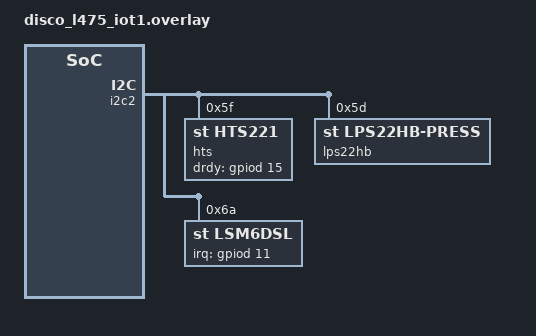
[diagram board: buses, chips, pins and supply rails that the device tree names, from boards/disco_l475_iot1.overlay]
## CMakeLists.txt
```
cmake_minimum_required(VERSION 3.20.0)
find_package(Zephyr REQUIRED HINTS $ENV{ZEPHYR_BASE})
project(Sensor_Logging_System)

FILE(GLOB app_sources src/*.c)
target_sources(app PRIVATE ${app_sources})
```

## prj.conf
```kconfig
CONFIG_I2C=y
CONFIG_SENSOR=y
CONFIG_CBPRINTF_FP_SUPPORT=y
CONFIG_LOG=y
```

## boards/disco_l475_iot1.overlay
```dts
/delete-node/ &boot_partition;
/delete-node/ &slot0_partition;
/delete-node/ &storage_partition;

/ {
    aliases {
        ht-sensor = &hts;
        pressure-sensor = &lps22hb;
        imu-sensor = &lsm6dsl;
    };
};

&i2c2 {

    hts: hts221@5f {
        compatible = "st,hts221";
        reg = <0x5f>;
        drdy-gpios = <&gpiod 15 GPIO_ACTIVE_HIGH>;
    };

    lps22hb: lps22hb-press@5d {
        compatible = "st,lps22hb-press";
        reg = <0x5d>;
    };

    lsm6dsl: lsm6dsl@6a {
        compatible = "st,lsm6dsl";
        reg = <0x6a>;
        irq-gpios = <&gpiod 11 GPIO_ACTIVE_HIGH>;
    };
};

&flash0 {
    partitions {
        compatible = "fixed-partitions";
        #address-cells = <1>;
        #size-cells = <1>;

        boot_partition: partition@0 {
            label = "mcuboot";
            reg = <0x0 DT_SIZE_K(64)>;
            read-only;
        };

        slot0_partition: partition@10000 {
            label = "image-0";
            reg = <0x10000 DT_SIZE_K(384)>;
        };

        storage_partition: partition@70000 {
            label = "storage";
            reg = <0x20000 DT_SIZE_K(640)>;
        };
    };
};
```

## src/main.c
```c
/*
 * @file main.c
 * @author Dhruv Mamtora
 * @version 0.1.0
 * @date  27 August, 2025
 *
 * @brief Main application file for Sensor Data Logging System.
 *
 * @details
 * This file contains the main function.
 *
 * @copyright Copyright (c) 2025
 */

/** REQUIRED HEADER FILES */
#include <zephyr/logging/log.h>
#include <zephyr/kernel.h>

/* Register the logging module for main application */
LOG_MODULE_REGISTER(main);

/*
 * @brief main - Main function.
 *
 * @author Dhruv Mamtora
 * @date 26 August, 2025
 *
 * @details
 * This function logs a startup message and returns.
 *
 * @return 0 on success.
 */
int main(void)
{
	LOG_INF("Sensor Data Logging System started.");
	return 0;
}
```

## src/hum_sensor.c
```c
/*
 * @file hum_sensor.c
 * @author Dhruv Mamtora
 * @version 0.1.0
 * @date  26 August, 2025
 *
 * @brief Humidity sensor processing for the Sensor Data Logging System.
 *
 * @details
 * This file contains the implementation of the humidity sensor thread, which reads data from
 * the HTS221 sensor and sends the humidity data to the logger thread via a message queue
 * for logging.
 *
 * @copyright Copyright (c) 2025
 */

/** REQUIRED HEADER FILES */
#include <zephyr/device.h>
#include <zephyr/drivers/sensor.h>
#include <zephyr/kernel.h>
#include <zephyr/logging/log.h>

#include "sensor_structures.h"

/** MACRO DEFINITIONS */
#define HUM_SENSOR_THREAD_STACK_SIZE 512
#define HUM_SENSOR_THREAD_PRIORITY   5
#define HUM_SENSOR_THREAD_SLEEP_TIME K_SECONDS(30)

#define HUM_Q_MAX_MSGS 10
#define HUM_Q_ALIGN    32

#define HUM_Q_TIMEOUT K_MSEC(1000)

/** DEVICE CONFIGURATION */
/* Check if the HTS221 sensor is defined in the device tree. */
#if DT_NODE_EXISTS(DT_ALIAS(ht_sensor))
#define HUM_TEMP_NODE DT_ALIAS(ht_sensor)
const struct device *const humDev = DEVICE_DT_GET(DT_ALIAS(ht_sensor));
#else
#error ("Humidity sensor not found.");
#endif

/* Function prototypes */
void humSensorThread(void *a, void *b, void *c);
int humSensorProcess(humidityData_t *humidityDataStruct);

/** LOGGING CONFIGURATION */
/* Register the logging module for humidity sensor operations. */
LOG_MODULE_REGISTER(hum);

/* Message queue to send humidity data to the logger thread */
K_MSGQ_DEFINE(humMsgQ, sizeof(humidityData_t), HUM_Q_MAX_MSGS, HUM_Q_ALIGN);

/*
 * @brief humSensorProcess - Process humidity sensor data.
 *
 * @author Dhruv Mamtora
 * @date 26 August, 2025
 *
 * @details
 * This function reads the humidity data from the HTS221 sensor and updates the provided
 *
 * @pre The sensor device must be initialized and ready.
 *
 * @syntax
 * int humSensorProcess(humidityData_t *humidityDataStruct);
 *
 * @param[in] humidityDataStruct Pointer to a humidityData_t structure to store the latest humidity
 * value.
 * @param[out] humidityDataStruct->dHumidity Updated with the latest humidity value in percentage.
 *
 * @return 0 on success, -1 on failure.
 *
 * @retval 0 Success
 * @retval -1 Error
 */
int humSensorProcess(humidityData_t *humidityDataStruct)
{
	if (!device_is_ready(humDev)) {
		LOG_ERR("sensor: %s device not ready.", humDev->name);
		return -1;
	}

	if (sensor_sample_fetch(humDev) < 0) {
		LOG_ERR("Sensor sample update error");
		return -1;
	}

	struct sensor_value humValue;
	if (sensor_channel_get(humDev, SENSOR_CHAN_HUMIDITY, &humValue) < 0) {
		LOG_ERR("Cannot read HTS221 humidity channel");
		return -1;
	}

	/* Update latest humidity value */
	humidityDataStruct->dHumidity = sensor_value_to_double(&humValue);
	return 0;
}

/*
 * @brief humSensorThread - Humidity sensor thread.
 *
 * @author Dhruv Mamtora
 * @date 26 August, 2025
 *
 * @details
 * This thread continuously reads humidity data from the HTS221 sensor and sends it to the logger
 * thread via a message queue for logging.
 *
 * @pre The sensor device must be initialized and ready.
 *
 * @syntax
 * void humSensorThread(void *a, void *b, void *c);
 *
 * @param[in] a Unused parameter.
 * @param[in] b Unused parameter.
 * @param[in] c Unused parameter.
 *
 * @return None.
 */
void humSensorThread(void *a, void *b, void *c)
{
	humidityData_t humidityDataStruct;

	LOG_INF("Humidity sensor thread started.");

	while (1) {
		if (humSensorProcess(&humidityDataStruct) == 0) {
			/* Send the humidity data to the logger thread */
			if (k_msgq_put(&humMsgQ, &humidityDataStruct, HUM_Q_TIMEOUT) != 0) {
				LOG_WRN("Humidity message queue full, dropping data");
			}
		}
		k_sleep(HUM_SENSOR_THREAD_SLEEP_TIME);
	}

	/* This line will never be reached */
	LOG_INF("Humidity sensor thread stopped.");
}

/* Define the humidity sensor thread */
K_THREAD_DEFINE(humThreadId, HUM_SENSOR_THREAD_STACK_SIZE, humSensorThread, NULL, NULL, NULL,
		HUM_SENSOR_THREAD_PRIORITY, 0, 2000);
```

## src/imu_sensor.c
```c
/*
 * @file imu_sensor.c
 * @author Dhruv Mamtora
 * @version 0.1.0
 * @date  27 August, 2025
 *
 * @brief This file contains functions to interface with the LSM6DSL IMU sensor.
 *
 * @details
 * This file implements functions to initialize the LSM6DSL IMU sensor, read accelerometer
 * and gyroscope data, and send the data to a logger thread via a message queue.
 *
 * @copyright Copyright (c) 2025
 */

/** REQUIRED HEADER FILES */
#include <zephyr/device.h>
#include <zephyr/drivers/sensor.h>
#include <zephyr/kernel.h>
#include <zephyr/logging/log.h>

#include "sensor_structures.h"

/** MACRO DEFINITIONS */
#define IMU_SENSOR_THREAD_STACK_SIZE 1024
#define IMU_SENSOR_THREAD_PRIORITY   5
#define IMU_SENSOR_THREAD_SLEEP_TIME K_SECONDS(5)

#define IMU_Q_MAX_MSGS 10
#define IMU_Q_ALIGN    32

#define IMU_Q_TIMEOUT K_MSEC(1000)

/** DEVICE CONFIGURATION */
/* Check if the LSM6DSL sensor is defined in the device tree. */
#if DT_NODE_EXISTS(DT_ALIAS(imu_sensor))
#define IMU_NODE DT_ALIAS(imu_sensor)
const struct device *const imuDev = DEVICE_DT_GET(DT_ALIAS(imu_sensor));
#else
#error ("IMU sensor not found.");
#endif

/* Function prototypes */
void imuSensorThread(void *a, void *b, void *c);
int imuSensorProcess(motionData_t *motionDataStruct);

/** LOGGING CONFIGURATION */
/* Register the logging module for IMU sensor operations. */
LOG_MODULE_REGISTER(imu);

/* Message queue to send IMU data to the logger thread */
K_MSGQ_DEFINE(imuMsgQ, sizeof(motionData_t), IMU_Q_MAX_MSGS, IMU_Q_ALIGN);

/*
 * @brief imuSensorProcess - Process IMU sensor data.
 *
 * @author Dhruv Mamtora
 * @date 27 August, 2025
 *
 * @details
 * This function reads data from the LSM6DSL IMU sensor and updates the provided motionDataStruct
 * with the latest accelerometer and gyroscope values.
 *
 * @pre The IMU sensor device must be initialized and ready.
 *
 * @syntax
 * int imuSensorProcess(motionData_t *motionDataStruct);
 *
 * @param[in] motionDataStruct Pointer to the structure to store the latest motion data.
 * @param[out] motionDataStruct->accel Updated with the latest accelerometer data.
 * @param[out] motionDataStruct->gyro Updated with the latest gyroscope data.
 *
 * @return 0 on success, -1 on failure.
 *
 * @retval 0 Success
 * @retval -1 Error
 */
int imuSensorProcess(motionData_t *motionDataStruct)
{

	if (!device_is_ready(imuDev)) {
		LOG_ERR("sensor: %s device not ready.", imuDev->name);
		return -1;
	}

	struct sensor_value odr_attr;

	/* set accel/gyro sampling frequency to 104 Hz */
	odr_attr.val1 = 104;
	odr_attr.val2 = 0;

	if (sensor_attr_set(imuDev, SENSOR_CHAN_ACCEL_XYZ, SENSOR_ATTR_SAMPLING_FREQUENCY,
			    &odr_attr) < 0) {
		LOG_ERR("Cannot set sampling frequency for accelerometer.");
		return -1;
	}

	if (sensor_attr_set(imuDev, SENSOR_CHAN_GYRO_XYZ, SENSOR_ATTR_SAMPLING_FREQUENCY,
			    &odr_attr) < 0) {
		LOG_ERR("Cannot set sampling frequency for gyro.");
		return -1;
	}

	if (sensor_sample_fetch(imuDev) < 0) {
		LOG_ERR("Sensor sample update error");
		return -1;
	}

	struct sensor_value accel_x, accel_y, accel_z;
	struct sensor_value gyro_x, gyro_y, gyro_z;

	/* Fetch accelerometer data */
	sensor_sample_fetch_chan(imuDev, SENSOR_CHAN_ACCEL_XYZ);
	sensor_channel_get(imuDev, SENSOR_CHAN_ACCEL_X, &accel_x);
	sensor_channel_get(imuDev, SENSOR_CHAN_ACCEL_Y, &accel_y);
	sensor_channel_get(imuDev, SENSOR_CHAN_ACCEL_Z, &accel_z);

	motionDataStruct->accel.x = sensor_value_to_double(&accel_x);
	motionDataStruct->accel.y = sensor_value_to_double(&accel_y);
	motionDataStruct->accel.z = sensor_value_to_double(&accel_z);

	/* Fetch gyroscope data */
	sensor_sample_fetch_chan(imuDev, SENSOR_CHAN_GYRO_XYZ);
	sensor_channel_get(imuDev, SENSOR_CHAN_GYRO_X, &gyro_x);
	sensor_channel_get(imuDev, SENSOR_CHAN_GYRO_Y, &gyro_y);
	sensor_channel_get(imuDev, SENSOR_CHAN_GYRO_Z, &gyro_z);

	motionDataStruct->gyro.x = sensor_value_to_double(&gyro_x);
	motionDataStruct->gyro.y = sensor_value_to_double(&gyro_y);
	motionDataStruct->gyro.z = sensor_value_to_double(&gyro_z);

	return 0;
}

/*
 * @brief imuSensorThread - Thread to periodically read IMU sensor data.
 *
 * @author Dhruv Mamtora
 * @date 27 August, 2025
 *
 * @details
 * This thread function continuously reads data from the LSM6DSL IMU sensor at defined intervals
 * and sends the data to the logger thread via a message queue.
 *
 * @syntax
 * void imuSensorThread(void *a, void *b, void *c);
 *
 * @param[in] a Unused parameter.
 * @param[in] b Unused parameter.
 * @param[in] c Unused parameter.
 */
void imuSensorThread(void *a, void *b, void *c)
{
	motionData_t motionDataStruct;

	LOG_INF("IMU sensor thread started.");

	while (1) {
		if (imuSensorProcess(&motionDataStruct) == 0) {
			/* Send the motion data to the logger thread via message queue */
			if (k_msgq_put(&imuMsgQ, &motionDataStruct, IMU_Q_TIMEOUT) != 0) {
				LOG_WRN("IMU message queue full, dropping data");
			}
		}
		k_sleep(IMU_SENSOR_THREAD_SLEEP_TIME);
	}

	/* This line will never be reached */
	LOG_INF("IMU sensor thread stopped.");
}

/* Define the IMU sensor thread */
K_THREAD_DEFINE(imuSensorThreadId, IMU_SENSOR_THREAD_STACK_SIZE, imuSensorThread, NULL, NULL, NULL,
		IMU_SENSOR_THREAD_PRIORITY, 0, 0);
```

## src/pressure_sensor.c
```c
/*
 * @file pressure_sensor.c
 * @author Dhruv Mamtora
 * @version 0.1.0
 * @date  27 August, 2025
 *
 * @brief Pressure sensor operations for the Sensor Data Logging System.
 *
 * @details
 * This file contains the implementation of the pressure sensor thread, which reads data from
 * the LPS22HH sensor and sends the pressure data to the logger thread via a message queue
 * for logging.
 * 
 * @copyright Copyright (c) 2025
 */

/** REQUIRED HEADER FILES */
#include <zephyr/device.h>
#include <zephyr/drivers/sensor.h>
#include <zephyr/kernel.h>
#include <zephyr/logging/log.h>

#include "sensor_structures.h"

/** MACRO DEFINITIONS */
#define PRESSURE_SENSOR_THREAD_STACK_SIZE 512
#define PRESSURE_SENSOR_THREAD_PRIORITY   5
#define PRESSURE_SENSOR_THREAD_SLEEP_TIME K_SECONDS(30)

#define PRESSURE_Q_MAX_MSGS 10
#define PRESSURE_Q_ALIGN    32

#define PRESSURE_Q_TIMEOUT K_MSEC(1000)

/** DEVICE CONFIGURATION */
/* Check if the LPS22HH sensor is defined in the device tree. */
#if DT_NODE_EXISTS(DT_ALIAS(pressure_sensor))
#define PRESSURE_NODE DT_ALIAS(pressure_sensor)
const struct device *const pressureDev = DEVICE_DT_GET(DT_ALIAS(pressure_sensor));
#else
#error ("Pressure sensor not found.");
#endif

/* Function prototypes */
void pressureSensorThread(void *a, void *b, void *c);
int pressureSensorProcess(pressureData_t *pressureDataStruct);

/** LOGGING CONFIGURATION */
/* Register the logging module for pressure sensor operations. */
LOG_MODULE_REGISTER(pressure);

/* Message queue to send pressure data to the logger thread */
K_MSGQ_DEFINE(pressureMsgQ, sizeof(pressureData_t), PRESSURE_Q_MAX_MSGS, PRESSURE_Q_ALIGN);

/*
 * @brief pressureSensorProcess - Process pressure sensor data.
 *
 * @author Dhruv Mamtora
 * @date 27 August, 2025
 *
 * @details
 * This function reads data from the LPS22HH pressure sensor and updates the provided
 * pressureDataStruct with the latest pressure value.
 *
 * @pre The sensor device must be initialized and ready.
 *
 * @syntax
 * int pressureSensorProcess(pressureData_t *pressureDataStruct);
 *
 * @param[in] pressureDataStruct Pointer to the structure to store the latest pressure value.
 * @param[out] pressureDataStruct->dPressure Updated with the latest pressure value in hPa.
 *
 * @return 0 on success, -1 on failure.
 * 
 * @retval 0 Success
 * @retval -1 Error
 */
int pressureSensorProcess(pressureData_t *pressureDataStruct)
{
	if (!device_is_ready(pressureDev)) {
		LOG_ERR("sensor: %s device not ready.", pressureDev->name);
		return -1;
	}

	if (sensor_sample_fetch(pressureDev) < 0) {
		LOG_ERR("Sensor sample update error");
		return -1;
	}

	struct sensor_value pressure;
	if (sensor_channel_get(pressureDev, SENSOR_CHAN_PRESS, &pressure) < 0) {
		LOG_ERR("Cannot read pressure channel");
		return -1;
	}

	pressureDataStruct->dPressure = sensor_value_to_double(&pressure);
	return 0;
}

/*
 * @brief pressureSensorThread - Thread to periodically read pressure sensor data.
 *
 * @author Dhruv Mamtora
 * @date 27 August, 2025
 *
 * @details
 * This thread function continuously reads data from the LPS22HH pressure sensor at defined
 * intervals and sends the data to the logger thread via a message queue.
 *
 * @syntax
 * void pressureSensorThread(void *a, void *b, void *c);
 *
 * @param[in] a Unused parameter.
 * @param[in] b Unused parameter.
 * @param[in] c Unused parameter.
 */
void pressureSensorThread(void *a, void *b, void *c)
{
	pressureData_t pressureDataStruct;

	LOG_INF("Pressure sensor thread started.");
	while (1) {
		if (pressureSensorProcess(&pressureDataStruct) == 0) {
			/* Send the pressure data to the logger thread */
			if (k_msgq_put(&pressureMsgQ, &pressureDataStruct, PRESSURE_Q_TIMEOUT) !=
			    0) {
				LOG_WRN("Pressure message queue full, dropping data.");
			}
		}
		k_sleep(PRESSURE_SENSOR_THREAD_SLEEP_TIME);
	}

	/* This line will never be reached */
	LOG_INF("Pressure sensor thread stopped.");
}

/* Define and start the pressure sensor thread */
K_THREAD_DEFINE(pressureSensorThreadId, PRESSURE_SENSOR_THREAD_STACK_SIZE, pressureSensorThread,
		NULL, NULL, NULL, PRESSURE_SENSOR_THREAD_PRIORITY, 0, 2000);
```

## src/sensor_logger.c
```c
/*
 * @file sensor_logger.c
 * @author Dhruv Mamtora
 * @version 0.1.0
 * @date  26 August, 2025
 *
 * @brief Sensor logger thread implementation.
 *
 * @details
 * This file contains the implementation of the sensor logger thread, which is responsible for
 * receiving sensor data from various sensor threads and logging it. The logger thread uses a
 * message queue to receive data from the humidity sensor thread.
 *
 * @copyright Copyright (c) 2025
 */

/** REQUIRED HEADER FILES */
#include <zephyr/device.h>
#include <zephyr/kernel.h>
#include <zephyr/logging/log.h>
#include <zephyr/fs/fs.h>
#include <zephyr/fs/littlefs.h>
#include <zephyr/storage/flash_map.h>

#include "sensor_structures.h"

/** MACRO DEFINITIONS */
#define LOGGER_THREAD_STACK_SIZE 1024 * 4
#define LOGGER_THREAD_PRIORITY   5
#define LOGGER_THREAD_SLEEP_TIME K_SECONDS(30)

#define QUEUE_TIMEOUT K_MSEC(1000)

#define STORAGE_PARTITION_LABEL storage_partition
#define MOUNT_POINT             "/lfs"

/** LOGGING CONFIGURATION */
/* Register the logging module for sensor logger operations. */
LOG_MODULE_REGISTER(sensor_logger);

/* Message queue to receive humidity data from the humidity sensor thread */
extern struct k_msgq humMsgQ;
extern struct k_msgq tempMsgQ;
extern struct k_msgq pressureMsgQ;
extern struct k_msgq imuMsgQ;

FS_LITTLEFS_DECLARE_DEFAULT_CONFIG(cstorage);

static struct fs_mount_t lfsMount = {
	.type = FS_LITTLEFS,
	.fs_data = &cstorage,
	.storage_dev = (void *)FIXED_PARTITION_ID(storage_partition),
	.mnt_point = MOUNT_POINT,
};

int loggerInit(void)
{
	/* 1. Try to mount */
	int rc = fs_mount(&lfsMount);
	if (rc == 0) {
		LOG_INF("Mounted LittleFS at %s", MOUNT_POINT);
		return 0;
	}

	/* 2. Unmount and retry to mount */
	LOG_WRN("Mount failed: %d. Attempting unmount and retry.", rc);
	fs_unmount(&lfsMount);

	rc = fs_mount(&lfsMount);
	if (rc == 0) {
		LOG_INF("Mounted LittleFS at %s", MOUNT_POINT);
		return 0;
	}

	/* 3. Erase flash and mount */
	LOG_WRN("Mount failed again: %d. Formatting.", rc);

	const struct flash_area *pfa;
	rc = flash_area_open((uintptr_t)lfsMount.storage_dev, &pfa);
	if (rc < 0) {
		LOG_ERR("Failed to open flash area: %d", rc);
		return rc;
	}

	rc = flash_area_erase(pfa, 0, pfa->fa_size);
	flash_area_close(pfa);
	if (rc < 0) {
		LOG_ERR("Flash erase failed: %d", rc);
		return rc;
	}

	LOG_INF("Flash erased, retrying mount");

	rc = fs_mount(&lfsMount);
	if (rc < 0) {
		LOG_ERR("Mount failed after erase: %d", rc);
		return rc;
	}

	LOG_INF("Mounted LittleFS at %s", MOUNT_POINT);
	return 0;
}

int writeSensorData(sensorSharedBuffer_t *data)
{
	struct fs_file_t file;
	fs_file_t_init(&file);

	int rc = fs_open(&file, "/lfs/data.bin", FS_O_CREATE | FS_O_WRITE | FS_O_APPEND);
	if (rc < 0) {
		LOG_ERR("Failed to open data.bin (%d)", rc);
		return rc;
	}

	rc = fs_write(&file, data, sizeof(sensorSharedBuffer_t));
	if (rc < 0) {
		LOG_ERR("Failed to write to data.bin (%d)", rc);
	}

	fs_close(&file);
	fs_sync(&file);
	
	return rc;
}

void printData(sensorSharedBuffer_t *data)
{
	LOG_INF("Humidity: %.2f %%", data->humidityData.dHumidity);
	LOG_INF("Temperature: %.2f C", data->temperatureData.dTemperature);
	LOG_INF("Pressure: %.2f hPa", data->pressureData.dPressure);
	LOG_INF("Accelerometer: X=%.2f Y=%.2f Z=%.2f", data->motionData.accel.x,
		data->motionData.accel.y, data->motionData.accel.z);
	LOG_INF("Gyroscope: X=%.2f Y=%.2f Z=%.2f", data->motionData.gyro.x, data->motionData.gyro.y,
		data->motionData.gyro.z);
}

/*
 * @brief loggerThread - Logger thread to log sensor data.
 *
 * @author Dhruv Mamtora
 * @date 26 August, 2025
 *
 * @details
 * This thread continuously receives sensor data from the humidity sensor thread via a message
 * queue and logs the received data.
 *
 * @pre The humidity sensor thread must be running and sending data to the message queue.
 *
 * @syntax
 * void loggerThread(void *a, void *b, void *c);
 *
 * @param[in] a Unused parameter.
 * @param[in] b Unused parameter.
 * @param[in] c Unused parameter.
 *
 * @return None.
 */
void loggerThread(void *a, void *b, void *c)
{
	loggerInit();
	sensorSharedBuffer_t localBuffer;
	LOG_INF("Logger thread started.");

	while (1) {
		k_msgq_get(&humMsgQ, &localBuffer.humidityData, QUEUE_TIMEOUT);
		k_msgq_get(&tempMsgQ, &localBuffer.temperatureData, QUEUE_TIMEOUT);
		k_msgq_get(&pressureMsgQ, &localBuffer.pressureData, QUEUE_TIMEOUT);
		k_msgq_get(&imuMsgQ, &localBuffer.motionData, QUEUE_TIMEOUT);

		/* Log the received sensor data */
		printData(&localBuffer);

		writeSensorData(&localBuffer);
		k_sleep(LOGGER_THREAD_SLEEP_TIME);
	}
}

/* Define the stack and thread for the logger thread. */
K_THREAD_DEFINE(loggerThreadId, LOGGER_THREAD_STACK_SIZE, loggerThread, NULL, NULL, NULL,
		LOGGER_THREAD_PRIORITY, 0, 1500);
```

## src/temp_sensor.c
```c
/*
 * @file temp_sensor.c
 * @author Dhruv Mamtora
 * @version 0.1.0
 * @date  27 August, 2025
 *
 * @brief Temperature sensor processing for the Sensor Data Logging System.
 *
 * @details
 * This file contains the implementation of the temperature sensor thread, which reads data from
 * the HTS221 sensor and sends the temperature data to the logger thread via a message queue
 * for logging.
 *
 * @copyright Copyright (c) 2025
 */

/** REQUIRED HEADER FILES */
#include <zephyr/device.h>
#include <zephyr/drivers/sensor.h>
#include <zephyr/kernel.h>
#include <zephyr/logging/log.h>

#include "sensor_structures.h"

/** MACRO DEFINITIONS */
#define TEMP_SENSOR_THREAD_STACK_SIZE 512
#define TEMP_SENSOR_THREAD_PRIORITY   5
#define TEMP_SENSOR_THREAD_SLEEP_TIME K_SECONDS(30)

#define TEMP_Q_MAX_MSGS 10
#define TEMP_Q_ALIGN    32

#define TEMP_Q_TIMEOUT K_MSEC(1000)

/** DEVICE CONFIGURATION */
/* Check if the HTS221 sensor is defined in the device tree. */
#if DT_NODE_EXISTS(DT_ALIAS(ht_sensor))
#define HUM_TEMP_NODE DT_ALIAS(ht_sensor)
const struct device *const tempDev = DEVICE_DT_GET(DT_ALIAS(ht_sensor));
#else
#error ("Temperature sensor not found.");
#endif

/* Function prototypes */
void tempSensorThread(void *a, void *b, void *c);
int tempSensorProcess(temperatureData_t *temperatureDataStruct);

/** LOGGING CONFIGURATION */
/* Register the logging module for humidity sensor operations. */
LOG_MODULE_REGISTER(temp);

/* Message queue to send humidity data to the logger thread */
K_MSGQ_DEFINE(tempMsgQ, sizeof(temperatureData_t), TEMP_Q_MAX_MSGS, TEMP_Q_ALIGN);

/*
 * @brief tempSensorProcess - Process temperature sensor data.
 *
 * @author Dhruv Mamtora
 * @date 27 August, 2025
 *
 * @details
 * This function reads the temperature data from the HTS221 sensor and updates the provided
 * temperatureData_t structure with the latest temperature value.
 *
 * @pre The sensor device must be initialized and ready.
 *
 * @syntax
 * int tempSensorProcess(temperatureData_t *temperatureDataStruct);
 *
 * @param[in] temperatureDataStruct Pointer to a temperatureData_t structure to store the latest
 * temperature value.
 * @param[out] temperatureDataStruct->dTemperature Updated with the latest temperature value in °C.
 *
 * @return 0 on success, -1 on failure.
 *
 * @retval 0 Success
 * @retval -1 Error
 */
int tempSensorProcess(temperatureData_t *temperatureDataStruct)
{
	if (!device_is_ready(tempDev)) {
		LOG_ERR("sensor: %s device not ready.", tempDev->name);
		return -1;
	}

	if (sensor_sample_fetch(tempDev) < 0) {
		LOG_ERR("Sensor sample update error");
		return -1;
	}

	struct sensor_value tempValue;
	if (sensor_channel_get(tempDev, SENSOR_CHAN_AMBIENT_TEMP, &tempValue) < 0) {
		LOG_ERR("Cannot read HTS221 temperature channel");
		return -1;
	}

	/* Update latest temperature value */
	temperatureDataStruct->dTemperature = sensor_value_to_double(&tempValue);
	return 0;
}

/*
 * @brief tempSensorThread - Temperature sensor thread.
 *
 * @author Dhruv Mamtora
 * @date 27 August, 2025
 *
 * @details
 * This thread continuously reads temperature data from the HTS221 sensor and sends it to the logger
 * thread via a message queue for logging.
 *
 * @pre The sensor device must be initialized and ready.
 *
 * @syntax
 * void tempSensorThread(void *a, void *b, void *c);
 *
 * @param[in] a Unused parameter.
 * @param[in] b Unused parameter.
 * @param[in] c Unused parameter.
 *
 * @return None.
 */
void tempSensorThread(void *a, void *b, void *c)
{
	temperatureData_t temperatureDataStruct;

	LOG_INF("Temperature sensor thread started.");

	while (1) {
		if (tempSensorProcess(&temperatureDataStruct) == 0) {
			/* Send the temperature data to the logger thread */
			if (k_msgq_put(&tempMsgQ, &temperatureDataStruct, TEMP_Q_TIMEOUT) != 0) {
				LOG_WRN("Temperature message queue full, dropping data");
			}
		}
		k_sleep(TEMP_SENSOR_THREAD_SLEEP_TIME);
	}

	/* This line will never be reached */
	LOG_INF("Temperature sensor thread stopped.");
}

/* Define the temperature sensor thread */
K_THREAD_DEFINE(tempThreadId, TEMP_SENSOR_THREAD_STACK_SIZE, tempSensorThread, NULL, NULL, NULL,
		TEMP_SENSOR_THREAD_PRIORITY, 0, 2000);
```
